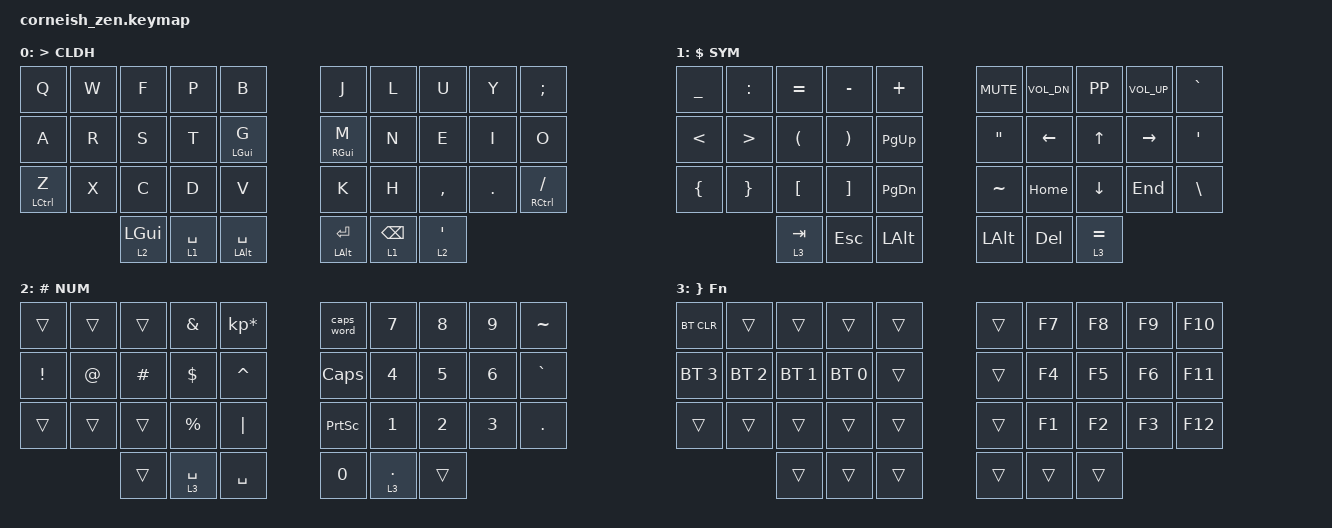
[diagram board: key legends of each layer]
/*
*
* Copyright (c) 2021 Darryl deHaan
* SPDX-License-Identifier: MIT
*
*/

#include <behaviors.dtsi>
#include <dt-bindings/zmk/keys.h>
#include <dt-bindings/zmk/bt.h>

/ {
  chosen {
    zmk,matrix_transform = &five_column_transform;
  };
};

&mt {
    tapping-term-ms = <200>;
};

// 0  1  2  3  4    5  6  7  8  9
// 10 11 12 13 14   15 16 17 18 19
// 20 21 22 23 24   25 26 27 28 29
//       30 31 32   33 34 35

/ {
    combos {
        compatible = "zmk,combos";

        combo_lshft {
            timeout-ms = <50>;
            layers = <0>;
            key-positions = <20 21>;
            bindings = <&kp LSHFT>;
        };

        combo_rshft {
            timeout-ms = <50>;
            key-positions = <28 29>;
            bindings = <&kp RSHFT>;
        };

        combo_lctrl_lshft {
            timeout-ms = <50>;
            key-positions = <10 20>;
            bindings = <&kp LC(LSHFT)>;
        };

        combo_rctrl_rshft {
            timeout-ms = <50>;
            key-positions = <19 29>;
            bindings = <&kp RC(RSHFT)>;
        };

        combo_tab {
            timeout-ms = <50>;
            key-positions = <0 1>;
            bindings = <&kp TAB>;
        };
        combo_esc {
            timeout-ms = <50>;
            key-positions = <8 9>;
            bindings = <&kp ESC>;
        };

        combo_ctrl_backspace {
            timeout-ms = <50>;
            key-positions = <6 8>;
            bindings = <&kp LC(BSPC)>;
        };
        combo_backspace {
            timeout-ms = <50>;
            key-positions = <6 7>;
            bindings = <&kp BSPC>;
        };
        combo_del {
            timeout-ms = <50>;
            key-positions = <7 8>;
            bindings = <&kp DEL>;
        };

        combo_capslock {
            timeout-ms = <50>;
            key-positions = <5 15>;
            bindings = <&kp CAPS>;
        };

        combo_caps_word {
            timeout-ms = <50>;
            key-positions = <5 6>;
            bindings = <&caps_word>;
        };

        combo_prscr {
            timeout-ms = <50>;
            key-positions = <4 14>;
            bindings = <&kp PSCRN>;
        };

    };

    behaviors {
        c_ht: ctrl_hold_tap {
            compatible = "zmk,behavior-hold-tap";
            label = "LEFT_CTRL_HOLD_TAP";
            #binding-cells = <2>;
            flavor = "balanced";
            tapping-term-ms = <200>;                        // <---[[produces tap if held longer than tapping-term-ms]]
            bindings = <&kp>, <&kp>;
        };
    };


        keymap {
                compatible = "zmk,keymap";

                default_layer {
                        label = "> CLDH";
                        bindings = <
            &kp Q         &kp W &kp F &kp P &kp B               &kp J  &kp L &kp U      &kp Y   &kp SEMI
            &kp A         &kp R &kp S &kp T &c_ht LGUI G  &c_ht RGUI M &kp N &kp E      &kp I   &kp O
            &c_ht LCTRL Z &kp X &kp C &kp D &kp V               &kp K   &kp H &kp COMMA &kp DOT &c_ht RCTRL FSLH

               &lt 2 LGUI  &lt 1 SPACE &mt LALT SPACE        &mt LALT RET  &lt 1 BSPC  &lt 2 SQT
                        >;
                };

                lower_layer {
                        label = "$ SYM";
                        bindings = <
            &kp UNDER &kp COLON &kp EQUAL  &kp MINUS  &kp PLUS         &kp K_MUTE  &kp K_VOL_DN  &kp K_PP  &kp K_VOL_UP  &kp GRAVE
             &kp LT   &kp GT    &kp LPAR   &kp RPAR   &kp PG_UP        &kp DQT     &kp LEFT      &kp UP    &kp RIGHT     &kp SQT
             &kp LBRC &kp RBRC  &kp LBKT   &kp RBKT   &kp PG_DN        &kp TILDE   &kp HOME      &kp DOWN  &kp END       &kp BSLH

                              &lt 3  TAB     &kp ESC    &kp LALT        &kp LALT     &kp DEL    &lt 3 EQUAL
                        >;
                };

                raise_layer {
                        label = "# NUM";
                        bindings = <
            &trans    &trans  &trans    &kp AMPS   &kp KP_MULTIPLY   &caps_word &kp N7 &kp N8 &kp N9 &kp TILDE
            &kp EXCL  &kp AT  &kp HASH  &kp DLLR   &kp CARET         &kp CAPS   &kp N4 &kp N5 &kp N6 &kp GRAVE
            &trans    &trans &trans     &kp PRCNT  &kp PIPE          &kp PSCRN  &kp N1 &kp N2 &kp N3 &kp DOT

                           &trans &lt 3 SPACE   &kp SPACE             &kp N0   &lt 3 DOT &trans
                        >;
                };

                func_layer {
                        label = "} Fn";
                        bindings = <
           &bt BT_CLR    &trans        &trans        &trans        &trans     &trans   &kp F7   &kp F8  &kp F9  &kp F10
           &bt BT_SEL 3  &bt BT_SEL 2  &bt BT_SEL 1  &bt BT_SEL 0  &trans     &trans   &kp F4   &kp F5  &kp F6  &kp F11
           &trans        &trans        &trans        &trans        &trans     &trans   &kp F1   &kp F2  &kp F3  &kp F12

                          &trans   &trans    &trans                   &trans    &trans   &trans
                        >;
                };
        };
};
